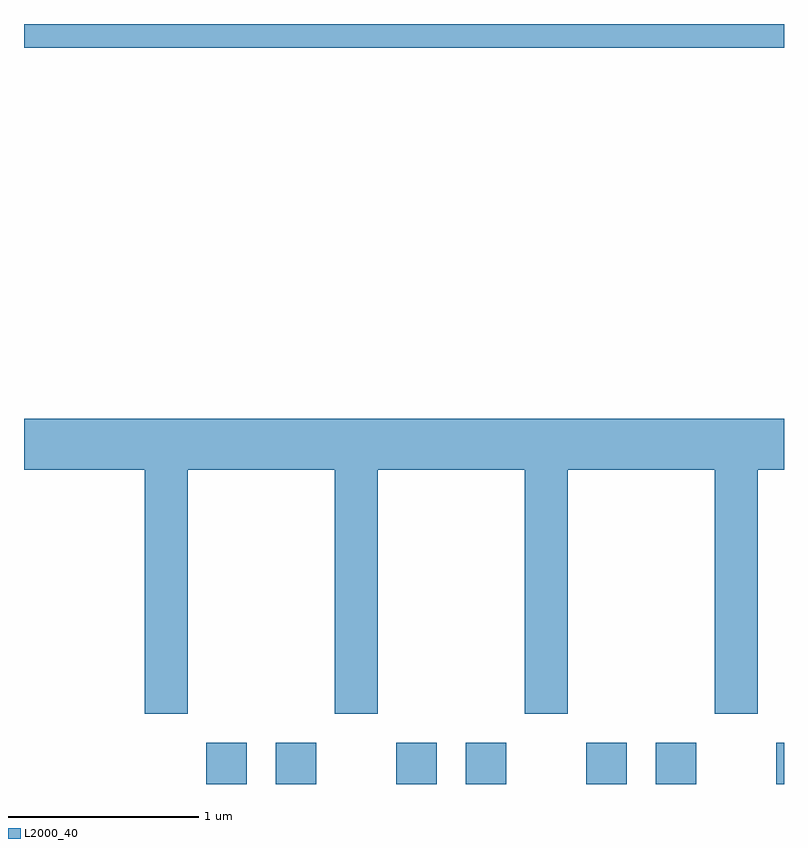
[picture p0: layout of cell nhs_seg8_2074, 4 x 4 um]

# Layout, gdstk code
import gdstk
lib = gdstk.Library(unit=1e-6, precision=1e-09)
def R(c, l, rs):  # rectangles x0, y0, x1, y1
    for r in rs: c.add(gdstk.rectangle(r[:2], r[2:], *l))
def P(c, l, *ps):  # polygons
    for p in ps: c.add(gdstk.Polygon(p, *l))
L2000_40 = (2000, 40)

nhs_seg8_2074 = lib.new_cell('nhs_seg8_2074')
R(nhs_seg8_2074, L2000_40, [(248.571,1810.342,248.784,1810.559), (248.936,1810.342,249.149,1810.559), (249.571,1810.342,249.784,1810.559), (249.936,1810.342,250.149,1810.559), (250.571,1810.342,250.784,1810.559), (250.936,1810.342,251.149,1810.559), (251.571,1810.342,251.611,1810.559), (247.611,1814.216,251.611,1814.342)])
P(nhs_seg8_2074, L2000_40, [(248.474,1811.996),(249.246,1811.996),(249.246,1810.711),(249.474,1810.711),(249.474,1811.996),(250.246,1811.996),(250.246,1810.711),(250.474,1810.711),(250.474,1811.996),(251.246,1811.996),(251.246,1810.711),(251.474,1810.711),(251.474,1811.996),(251.611,1811.996),(251.611,1812.264),(247.611,1812.264),(247.611,1811.996),(248.246,1811.996),(248.246,1810.711),(248.474,1810.711)])

lib.write_gds('nhs_seg8_2074.gds')
